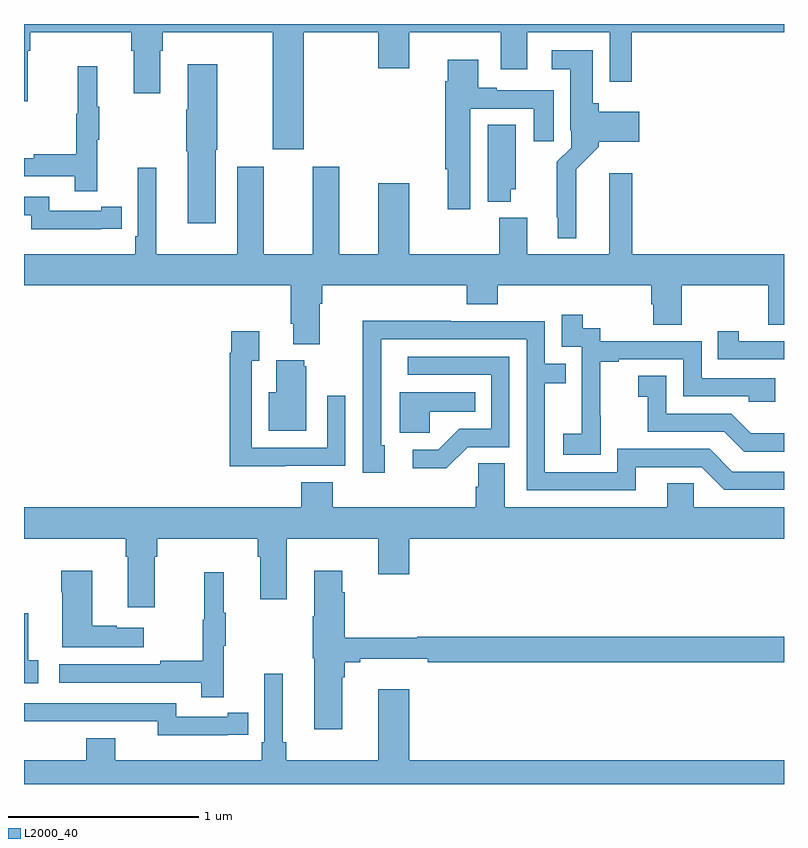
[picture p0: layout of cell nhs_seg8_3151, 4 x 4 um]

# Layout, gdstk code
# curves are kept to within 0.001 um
import gdstk
lib = gdstk.Library(unit=1e-6, precision=1e-09)
def P(c, l, *ps):  # polygons
    for p in ps: c.add(gdstk.Polygon(p, *l))
L2000_40 = (2000, 40)

nhs_seg8_3151 = lib.new_cell('nhs_seg8_3151')
P(nhs_seg8_3151, L2000_40, [(308.473,1093.856),(308.864,1093.856),(308.864,1093.668),(309.028,1093.668),(309.028,1093.856),(309.509,1093.856),(309.509,1093.662),(309.649,1093.662),(309.649,1093.856),(310.083,1093.856),(310.083,1093.596),(310.199,1093.596),(310.199,1093.856),(311,1093.856),(311,1093.9),(307,1093.9),(307,1093.494),(307.021,1093.494),(307.021,1093.76),(307.034,1093.76),(307.034,1093.856),(307.565,1093.856),(307.565,1093.76),(307.577,1093.76),(307.577,1093.536),(307.717,1093.536),(307.717,1093.76),(307.73,1093.76),(307.73,1093.856),(308.309,1093.856),(308.309,1093.242),(308.473,1093.242)],
  [(309.907,1093.136),(310.025,1093.254),(310.025,1093.28),(310.237,1093.28),(310.237,1093.438),(310.025,1093.438),(310.025,1093.482),(309.994,1093.482),(309.994,1093.762),(309.777,1093.762),(309.777,1093.661),(309.875,1093.661),(309.875,1093.342),(309.879,1093.342),(309.879,1093.248),(309.805,1093.174),(309.805,1092.883),(309.809,1092.883),(309.809,1092.773),(309.907,1092.773)],
  [(309.349,1093.455),(309.683,1093.455),(309.683,1093.284),(309.787,1093.284),(309.787,1093.551),(309.487,1093.551),(309.487,1093.564),(309.391,1093.564),(309.391,1093.711),(309.23,1093.711),(309.23,1093.598),(309.218,1093.598),(309.218,1093.136),(309.23,1093.136),(309.23,1092.924),(309.349,1092.924)],
  [(308.008,1093.237),(308.016,1093.237),(308.016,1093.687),(307.862,1093.687),(307.862,1093.448),(307.855,1093.448),(307.855,1093.231),(307.862,1093.231),(307.862,1092.852),(308.008,1092.852)],
  [(307.385,1093.291),(307.396,1093.291),(307.396,1093.465),(307.385,1093.465),(307.385,1093.678),(307.282,1093.678),(307.282,1093.428),(307.275,1093.428),(307.275,1093.214),(307.051,1093.214),(307.051,1093.194),(307,1093.194),(307,1093.098),(307.267,1093.098),(307.267,1093.02),(307.385,1093.02)],
  [(309.562,1093.029),(309.589,1093.029),(309.589,1093.37),(309.44,1093.37),(309.44,1092.965),(309.562,1092.965)],
  [(308.557,1092.428),(308.57,1092.428),(308.57,1092.524),(309.329,1092.524),(309.329,1092.425),(309.494,1092.425),(309.494,1092.524),(310.301,1092.524),(310.301,1092.426),(310.313,1092.426),(310.313,1092.316),(310.461,1092.316),(310.461,1092.524),(310.918,1092.524),(310.918,1092.316),(311,1092.316),(311,1092.688),(310.202,1092.688),(310.202,1093.114),(310.079,1093.114),(310.079,1092.688),(309.649,1092.688),(309.649,1092.88),(309.502,1092.88),(309.502,1092.688),(309.028,1092.688),(309.028,1093.063),(308.864,1093.063),(308.864,1092.688),(308.659,1092.688),(308.659,1093.15),(308.519,1093.15),(308.519,1092.688),(308.263,1092.688),(308.263,1093.15),(308.123,1093.15),(308.123,1092.688),(307.696,1092.688),(307.696,1093.144),(307.599,1093.144),(307.599,1092.784),(307.586,1092.784),(307.586,1092.688),(307,1092.688),(307,1092.524),(308.405,1092.524),(308.405,1092.322),(308.417,1092.322),(308.417,1092.215),(308.557,1092.215)],
  [(307.406,1092.822),(307.514,1092.822),(307.514,1092.938),(307.406,1092.938),(307.406,1092.918),(307.134,1092.918),(307.134,1092.99),(307,1092.99),(307,1092.894),(307.038,1092.894),(307.038,1092.821),(307.406,1092.821)],
  [(310.035,1091.839),(310.034,1091.839),(310.034,1092.123),(310.129,1092.123),(310.129,1092.135),(310.47,1092.135),(310.47,1091.94),(310.815,1091.94),(310.815,1091.913),(310.955,1091.913),(310.955,1092.036),(310.566,1092.036),(310.566,1092.231),(310.032,1092.231),(310.032,1092.3),(309.94,1092.3),(309.94,1092.37),(309.831,1092.37),(309.831,1092.201),(309.936,1092.201),(309.936,1091.972),(309.935,1091.972),(309.935,1091.743),(309.837,1091.743),(309.837,1091.633),(310.035,1091.633)],
  [(310.219,1091.568),(310.566,1091.568),(310.686,1091.448),(311,1091.448),(311,1091.544),(310.728,1091.544),(310.608,1091.664),(310.122,1091.664),(310.122,1091.541),(309.741,1091.541),(309.741,1092.01),(309.851,1092.01),(309.851,1092.111),(309.741,1092.111),(309.741,1092.336),(309.245,1092.336),(309.245,1092.338),(308.782,1092.338),(308.782,1092.031),(308.784,1092.031),(308.784,1091.538),(308.899,1091.538),(308.899,1091.682),(308.88,1091.682),(308.881,1092.24),(309.645,1092.24),(309.645,1091.445),(310.219,1091.445)],
  [(311,1092.231),(310.762,1092.231),(310.762,1092.283),(310.651,1092.283),(310.651,1092.135),(311,1092.135)],
  [(308.375,1091.574),(308.691,1091.574),(308.691,1091.944),(308.595,1091.944),(308.595,1091.67),(308.199,1091.67),(308.199,1092.127),(308.239,1092.127),(308.239,1092.283),(308.091,1092.283),(308.091,1092.17),(308.083,1092.17),(308.083,1091.573),(308.375,1091.573)],
  [(309.336,1091.673),(309.555,1091.673),(309.555,1092.15),(309.021,1092.15),(309.021,1092.054),(309.459,1092.054),(309.459,1091.769),(309.29,1091.769),(309.179,1091.658),(309.045,1091.658),(309.045,1091.561),(309.223,1091.561)],
  [(308.485,1092.099),(308.474,1092.099),(308.474,1092.13),(308.327,1092.13),(308.327,1091.962),(308.288,1091.962),(308.288,1091.759),(308.485,1091.759)],
  [(311,1091.746),(310.826,1091.746),(310.722,1091.85),(310.38,1091.85),(310.38,1092.049),(310.233,1092.049),(310.233,1091.939),(310.282,1091.939),(310.282,1091.754),(310.685,1091.754),(310.79,1091.649),(311,1091.649)],
  [(309.135,1091.858),(309.374,1091.858),(309.374,1091.962),(308.978,1091.962),(308.978,1091.75),(309.135,1091.75)],
  [(307.687,1091.096),(307.7,1091.096),(307.7,1091.192),(308.231,1091.192),(308.231,1091.096),(308.243,1091.096),(308.243,1090.872),(308.383,1090.872),(308.383,1091.192),(308.864,1091.192),(308.864,1091.004),(309.028,1091.004),(309.028,1091.192),(311,1091.192),(311,1091.356),(310.524,1091.356),(310.524,1091.483),(310.385,1091.483),(310.385,1091.356),(309.529,1091.356),(309.529,1091.588),(309.39,1091.588),(309.39,1091.465),(309.377,1091.465),(309.377,1091.356),(308.624,1091.356),(308.624,1091.489),(308.459,1091.489),(308.459,1091.356),(307,1091.356),(307,1091.192),(307.535,1091.192),(307.535,1091.096),(307.547,1091.096),(307.547,1090.83),(307.687,1090.83)],
  [(308.674,1090.463),(308.687,1090.463),(308.687,1090.54),(308.77,1090.54),(308.77,1090.559),(309.124,1090.559),(309.124,1090.54),(311,1090.54),(311,1090.676),(309.07,1090.676),(309.07,1090.669),(308.687,1090.669),(308.687,1090.91),(308.674,1090.91),(308.674,1091.023),(308.528,1091.023),(308.528,1090.784),(308.521,1090.784),(308.521,1090.563),(308.528,1090.563),(308.528,1090.188),(308.674,1090.188)],
  [(307.63,1090.723),(307.487,1090.723),(307.487,1090.733),(307.36,1090.733),(307.36,1091.023),(307.195,1091.023),(307.195,1090.91),(307.202,1090.91),(307.202,1090.619),(307.63,1090.619)],
  [(308.051,1090.627),(308.062,1090.627),(308.062,1090.801),(308.051,1090.801),(308.051,1091.014),(307.948,1091.014),(307.948,1090.764),(307.941,1090.764),(307.941,1090.55),(307.717,1090.55),(307.717,1090.53),(307.185,1090.53),(307.185,1090.434),(307.933,1090.434),(307.933,1090.356),(308.051,1090.356)],
  [(307.075,1090.551),(307.022,1090.551),(307.022,1090.798),(307,1090.798),(307,1090.431),(307.075,1090.431)],
  [(308.072,1090.158),(308.18,1090.158),(308.18,1090.274),(308.072,1090.274),(308.072,1090.254),(307.8,1090.254),(307.8,1090.326),(307,1090.326),(307,1090.229),(307.244,1090.229),(307.244,1090.23),(307.704,1090.23),(307.704,1090.157),(308.072,1090.157)],
  [(309.028,1090.399),(308.864,1090.399),(308.864,1090.024),(308.381,1090.024),(308.381,1090.12),(308.362,1090.12),(308.362,1090.48),(308.265,1090.48),(308.265,1090.12),(308.252,1090.12),(308.252,1090.024),(307.48,1090.024),(307.48,1090.141),(307.328,1090.141),(307.328,1090.024),(307,1090.024),(307,1089.9),(311,1089.9),(311,1090.024),(309.028,1090.024)])

lib.write_gds('nhs_seg8_3151.gds')
